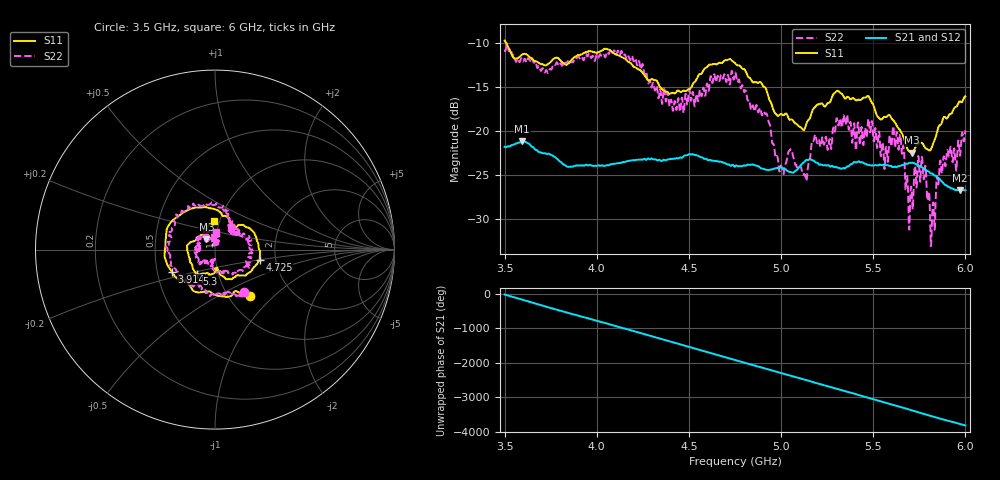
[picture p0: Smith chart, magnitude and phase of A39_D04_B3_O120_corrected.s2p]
! Created with skrf 1.9.0 (http://scikit-rf.org).
# Hz S RI R 50.0
!freq ReS11 ImS11 ReS21 ImS21 ReS12 ImS12 ReS22 ImS22
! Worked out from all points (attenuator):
!   1601 points, 3.5 GHz to 6 GHz, reference 50 ohm
!   highest |S21| = -21.19 dB at 3.595 GHz (marker M1); lowest = -26.8 dB at 5.97 GHz (marker M2)
!   lowest |S11| = -22.5 dB at 5.711 GHz (marker M3), VSWR 1.16, Z = 45.2 + j5.28 ohm
!   |S11| at or under -10 dB: 3.508 GHz to end of sweep
!   |S22| runs from -33.1 to -10.3 dB; largest |S21 - S12| = 0.001
!   S11 on the Smith chart (normalised r, x): 3.5 GHz: 1.26, -0.73; 3.914 GHz: 0.60, -0.16; 4.725 GHz: 1.65, -0.20; 5.3 GHz: 0.79, -0.22; 6 GHz: 0.94, +0.30
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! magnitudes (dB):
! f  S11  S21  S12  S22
! 3.5 GHz  -9.7  -21.8  -21.8  -10.8
! 3.595 GHz  -11.3  -21.2  -21.2  -11.9
! 3.914 GHz  -11.4  -23.9  -23.9  -11.8
! 3.917 GHz  -11.3  -23.9  -23.9  -11.7
! 4.142 GHz  -11.7  -23.5  -23.5  -11.4
! 4.334 GHz  -14.7  -23.3  -23.2  -16.3
! 4.725 GHz  -11.9  -24.0  -23.8  -14.5
! 4.75 GHz  -12.3  -24.1  -24.0  -13.5
! 4.919 GHz  -15.3  -24.4  -24.4  -18.0
! 5.002 GHz  -18.1  -24.2  -24.2  -24.0
! 5.13 GHz  -19.7  -23.4  -23.4  -25.0
! 5.167 GHz  -17.8  -23.3  -23.2  -21.2
! 5.3 GHz  -15.5  -24.1  -24.0  -18.7
! 5.584 GHz  -18.2  -23.9  -23.9  -21.8
! 5.655 GHz  -20.2  -23.9  -23.8  -22.5
! 5.686 GHz  -22.1  -23.7  -23.7  -25.5
! 5.711 GHz  -22.5  -23.6  -23.5  -27.9
! 5.773 GHz  -21.6  -24.3  -24.2  -25.5
! 5.823 GHz  -21.5  -24.9  -24.8  -28.2
! 5.872 GHz  -19.1  -25.7  -25.6  -24.8
! 5.97 GHz  -16.7  -26.8  -26.7  -22.8
! 6 GHz  -16.1  -26.7  -26.6  -19.9
